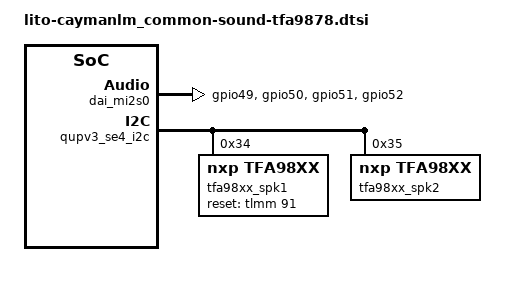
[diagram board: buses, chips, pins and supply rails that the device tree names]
/* SPDX-License-Identifier: GPL-2.0-only */
/*
 * Copyright (c) 2018-2019, The Linux Foundation. All rights reserved.
 */

/*
 * Copyright (c) 2018, The Linux Foundation. All rights reserved.
 *
 * This program is free software; you can redistribute it and/or modify
 * it under the terms of the GNU General Public License version 2 and
 * only version 2 as published by the Free Software Foundation.
 *
 * This program is distributed in the hope that it will be useful,
 * but WITHOUT ANY WARRANTY; without even the implied warranty of
 * MERCHANTABILITY or FITNESS FOR A PARTICULAR PURPOSE.  See the
 * GNU General Public License for more details.
 */
&tlmm {

	pri_mi2s_sck {
		pri_mi2s_sck_sleep: pri_mi2s_sck_sleep {
			mux {
				pins = "gpio49";
				function = "gpio";
			};

			config {
				pins = "gpio49";
				drive-strength = <2>;   /* 2 mA */
				bias-pull-down;         /* PULL DOWN */
				input-enable;
			};
		};

		pri_mi2s_sck_active: pri_mi2s_sck_active {
			mux {
				pins = "gpio49";
				function = "pri_mi2s";
			};

			config {
				pins = "gpio49";
				drive-strength = <8>;   /* 8 mA */
				bias-disable;           /* NO PULL */
			};
		};
	};

	pri_mi2s_ws {
		pri_mi2s_ws_sleep: pri_mi2s_ws_sleep {
			mux {
				pins = "gpio50";
				function = "gpio";
			};

			config {
				pins = "gpio50";
				drive-strength = <2>;   /* 2 mA */
				bias-pull-down;         /* PULL DOWN */
				input-enable;
			};
		};

		pri_mi2s_ws_active: pri_mi2s_ws_active {
			mux {
				pins = "gpio50";
				function = "pri_mi2s_ws";
			};

			config {
				pins = "gpio50";
				drive-strength = <8>;   /* 8 mA */
				bias-disable;           /* NO PULL */
			};
		};
	};

	pri_mi2s_sd0 {
		pri_mi2s_sd0_sleep: pri_mi2s_sd0_sleep {
			mux {
				pins = "gpio51";
				function = "gpio";
			};

			config {
				pins = "gpio51";
				drive-strength = <2>;   /* 2 mA */
				bias-pull-down;         /* PULL DOWN */
				input-enable;
			};
		};

		pri_mi2s_sd0_active: pri_mi2s_sd0_active {
			mux {
				pins = "gpio51";
				function = "pri_mi2s";
			};

			config {
				pins = "gpio51";
				drive-strength = <8>;   /* 8 mA */
				bias-disable;           /* NO PULL */
			};
		};
	};
	pri_mi2s_sd1 {
		pri_mi2s_sd1_sleep: pri_mi2s_sd1_sleep {
			mux {
				pins = "gpio52";
				function = "gpio";
			};

			config {
				pins = "gpio52";
				drive-strength = <2>;   /* 2 mA */
				bias-pull-down;         /* PULL DOWN */
				input-enable;
			};
		};

		pri_mi2s_sd1_active: pri_mi2s_sd1_active {
			mux {
				pins = "gpio52";
				function = "pri_mi2s";
			};

			config {
				pins = "gpio52";
				drive-strength = <8>;   /* 8 mA */
				bias-disable;           /* NO PULL */
			};
		};
	};
};

&dai_mi2s0 {
	qcom,msm-mi2s-rx-lines = <2>; /* SD1 used as output */
	qcom,msm-mi2s-tx-lines = <1>; /* SD0 used as input */
	pinctrl-names = "default", "sleep";
	pinctrl-0 = <&pri_mi2s_sck_active &pri_mi2s_ws_active
			&pri_mi2s_sd0_active &pri_mi2s_sd1_active>;
	pinctrl-1 = <&pri_mi2s_sck_sleep &pri_mi2s_ws_sleep
			&pri_mi2s_sd0_sleep &pri_mi2s_sd1_sleep>;
};

&qupv3_se4_i2c { /* QUPV3 SE4  */
	status = "ok";
	tfa98xx_spk1: tfa98xx@34 {
		compatible = "nxp,tfa98xx";
		status = "ok";
		reg = <0x34>;
		reset-gpio = <&tlmm 91 0x0>;
		reset-polarity = <0>;

		nxp,firmware-name = "Tfa98xx.cnt";
	};
	tfa98xx_spk2: tfa98xx@35 {
		compatible = "nxp,tfa98xx";
		status = "ok";
		reg = <0x35>;
		nxp,firmware-name = "Tfa98xx.cnt";
	};
};
